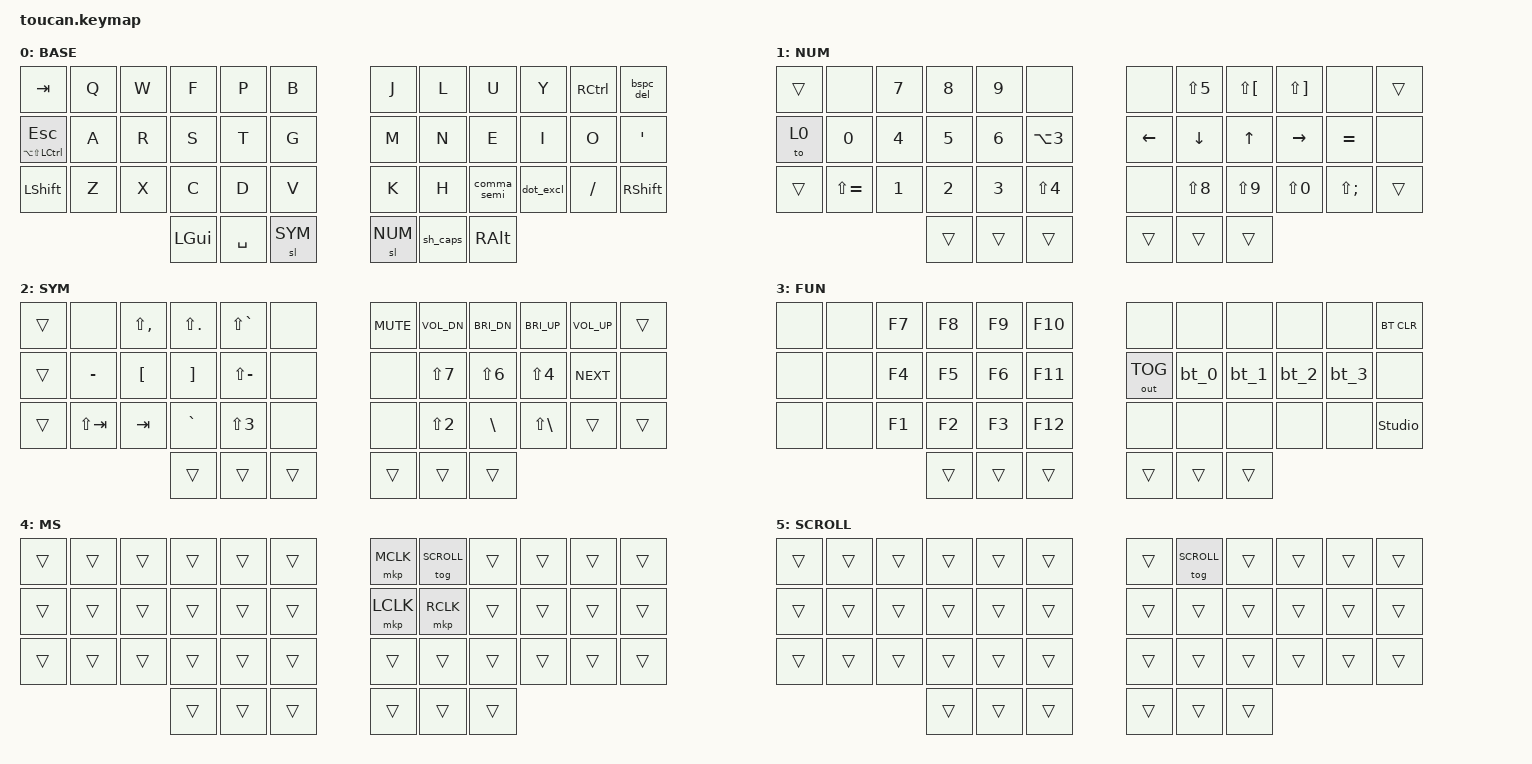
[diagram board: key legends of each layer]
#include <behaviors.dtsi>
#include <dt-bindings/zmk/keys.h>
#include <dt-bindings/zmk/bt.h>
#include <dt-bindings/zmk/outputs.h>
#include <dt-bindings/zmk/pointing.h>
#include <input/processors.dtsi>

#define BASE  0
#define NUM   1
#define SYM   2
#define FUN   3
#define MOUSE  4
#define SCROLL 5

#define HYPER LA(LS(LCTRL))

/* Macros */
/ {
    macros {
        bt_0: bt_0 {
            label = "BT_0";
            compatible = "zmk,behavior-macro";
            #binding-cells = <0>;
            bindings = <&out OUT_BLE>, <&bt BT_SEL 0>;
        };

        bt_1: bt_1 {
            label = "BT_1";
            compatible = "zmk,behavior-macro";
            #binding-cells = <0>;
            bindings = <&out OUT_BLE>, <&bt BT_SEL 1>;
        };

        bt_2: bt_2 {
            label = "BT_2";
            compatible = "zmk,behavior-macro";
            #binding-cells = <0>;
            bindings = <&out OUT_BLE>, <&bt BT_SEL 2>;
        };

        bt_3: bt_3 {
            label = "BT_3";
            compatible = "zmk,behavior-macro";
            #binding-cells = <0>;
            bindings = <&out OUT_BLE>, <&bt BT_SEL 3>;
        };
    };
};

/* Behaviors */
/ {
    behaviors {
        comma_semi: comma_semi {
            compatible = "zmk,behavior-mod-morph";
            label = "SEMI_COMMA";
            #binding-cells = <0>;
            bindings = <&kp COMMA>, <&kp SEMI>;
            mods = <(MOD_LSFT|MOD_RSFT)>;
        };

        dot_excl: dot_excl {
            compatible = "zmk,behavior-mod-morph";
            label = "EXCL_DOT";
            #binding-cells = <0>;
            bindings = <&kp DOT>, <&kp EXCL>;
            mods = <(MOD_LSFT|MOD_RSFT)>;
        };

        bspc_del: bspc_del {
            compatible = "zmk,behavior-mod-morph";
            label = "BSPC_DEL";
            #binding-cells = <0>;
            bindings = <&kp BSPC>, <&kp DEL>;
            mods = <(MOD_LSFT|MOD_RSFT)>;
        };

        sh_caps: sh_caps {
            compatible = "zmk,behavior-tap-dance";
            #binding-cells = <0>;
            tapping-term-ms = <200>;
            bindings = <&sk LSHIFT>, <&caps_word>;
        };
    };
};

/* Conditional layer: both layer keys held = FUN */
/ {
    conditional_layers {
        compatible = "zmk,conditional-layers";
        tri_layer {
            if-layers = <NUM SYM>;
            then-layer = <FUN>;
        };
    };
};

/* Auto mouse layer: trackpad touch activates MOUSE layer.
 * excluded-positions: click keys (6=MCLK, 18=LCLK, 19=RCLK) won't dismiss the layer.
 * require-prior-idle-ms: don't activate if typing within last 1s. */
&zip_temp_layer {
    require-prior-idle-ms = <1000>;
    excluded-positions = <6 7 18 19>;
};

&glidepoint_listener {
    input-processors = <&zip_xy_scaler 400 100>, <&zip_temp_layer MOUSE 500>;
    scroller {
        layers = <NUM SYM SCROLL>;
        input-processors = <
            &zip_xy_to_scroll_mapper
            &zip_scroll_scaler 1 5
            &zip_scroll_transform (INPUT_TRANSFORM_X_INVERT | INPUT_TRANSFORM_Y_INVERT)
        >;
    };
};

/*
 * Combos - positions remapped from Go60 to Toucan 42-key layout
 *
 *  0  1  2  3  4  5  |  6  7  8  9 10 11
 * 12 13 14 15 16 17  | 18 19 20 21 22 23
 * 24 25 26 27 28 29  | 30 31 32 33 34 35
 *          36 37 38  | 39 40 41
 *
 * TAB  Q  W  F  P  B  |  J  L  U  Y CTL BS
 * ESC  A  R  S  T  G  |  M  N  E  I  O  '
 * SHF  Z  X  C  D  V  |  K  H  ,  .  /  SHF
 *        GUI SPC SYM  | NUM SHF ALT
 */
/ {
    combos {
        compatible = "zmk,combos";

        combo_CD_V {
            key-positions = <27 28>;
            bindings = <&kp V>;
            layers = <BASE NUM SYM>;
        };

        combo_CommaDot_return {
            key-positions = <32 33>;
            bindings = <&kp RET>;
            layers = <BASE NUM SYM>;
        };

        combo_DotSlash_HYPER_R {
            key-positions = <33 34>;
            bindings = <&kp LS(LA(LC(LG(RBKT))))>;
            layers = <BASE NUM SYM>;
        };

        combo_FP_B {
            key-positions = <3 4>;
            bindings = <&kp B>;
            layers = <BASE NUM SYM>;
        };

        combo_SX_delete {
            key-positions = <15 26>;
            bindings = <&kp BSPC>;
            layers = <BASE NUM SYM>;
        };

        combo_UY_J {
            key-positions = <8 9>;
            bindings = <&kp J>;
            layers = <BASE NUM SYM>;
        };

        combo_WF_Q {
            key-positions = <3 2>;
            bindings = <&kp Q>;
            layers = <BASE NUM SYM>;
        };

        combo_XD_K {
            key-positions = <26 28>;
            bindings = <&kp K>;
            layers = <BASE NUM SYM>;
        };

        combo_ZC_TAB {
            key-positions = <27 25>;
            bindings = <&kp TAB>;
            layers = <BASE NUM SYM>;
        };

        combo_ZX_HYPER_L {
            key-positions = <25 26>;
            bindings = <&kp LC(LS(LA(LG(LBKT))))>;
            layers = <BASE NUM SYM>;
        };
    };
};

/* Keymap */
/ {
    keymap {
        compatible = "zmk,keymap";

        layer_Base {
            display-name = "BASE";
            bindings = <
     &kp TAB        &kp Q  &kp W  &kp F  &kp P  &kp B      &kp J  &kp L  &kp U  &kp Y  &kp RCTRL  &bspc_del
     &mt HYPER ESC  &kp A  &kp R  &kp S  &kp T  &kp G      &kp M  &kp N  &kp E  &kp I  &kp O     &kp SQT
     &kp LSHFT      &kp Z  &kp X  &kp C  &kp D  &kp V      &kp K  &kp H  &comma_semi    &dot_excl    &kp FSLH  &kp RSHFT
                              &kp LGUI  &kp SPACE  &sl SYM      &sl NUM  &sh_caps  &kp RALT
            >;
        };

        layer_NUM {
            display-name = "NUM";
            bindings = <
     &trans  &none         &kp N7  &kp N8  &kp N9  &none       &none     &kp LS(N5)  &kp LS(LBKT)  &kp LS(RBKT)  &none        &trans
     &to 0  &kp N0        &kp N4  &kp N5  &kp N6  &kp LA(N3)  &kp LEFT  &kp DOWN    &kp UP        &kp RIGHT     &kp EQUAL    &none
     &trans &kp LS(EQUAL)  &kp N1  &kp N2  &kp N3  &kp LS(N4)  &none     &kp LS(N8)  &kp LS(N9)    &kp LS(N0)    &kp LS(SEMI) &trans
                                    &trans  &trans   &trans      &trans    &trans      &trans
            >;
        };

        layer_SYM {
            display-name = "SYM";
            bindings = <
     &trans  &none       &kp LS(COMMA)  &kp LS(DOT)  &kp LS(GRAVE)  &none   &kp C_MUTE   &kp C_VOL_DN  &kp C_BRI_DN  &kp C_BRI_UP  &kp C_VOL_UP  &trans
     &trans  &kp MINUS   &kp LBKT       &kp RBKT     &kp LS(MINUS)  &none   &none         &kp LS(N7)    &kp LS(N6)    &kp LS(N4)    &kp C_NEXT    &none
     &trans  &kp LS(TAB) &kp TAB        &kp GRAVE    &kp LS(N3)     &none   &none         &kp LS(N2)    &kp BSLH      &kp LS(BSLH)  &trans        &trans
                                          &trans  &trans  &trans     &trans  &trans        &trans
            >;
        };

        layer_FUN {
            display-name = "FUN";
            bindings = <
     &none  &none  &kp F7  &kp F8  &kp F9  &kp F10   &none          &none  &none  &none  &none  &bt BT_CLR
     &none  &none  &kp F4  &kp F5  &kp F6  &kp F11   &out OUT_TOG   &bt_0  &bt_1  &bt_2  &bt_3  &none
     &none  &none  &kp F1  &kp F2  &kp F3  &kp F12   &none          &none  &none  &none  &none  &studio_unlock
                                 &trans  &trans  &trans   &trans  &trans  &trans
            >;
        };

        layer_MOUSE {
            display-name = "MS";
            bindings = <
     &trans  &trans  &trans  &trans  &trans  &trans      &mkp MCLK  &tog SCROLL  &trans  &trans  &trans  &trans
     &trans  &trans  &trans  &trans  &trans  &trans      &mkp LCLK  &mkp RCLK   &trans  &trans  &trans  &trans
     &trans  &trans  &trans  &trans  &trans  &trans      &trans     &trans      &trans  &trans  &trans  &trans
                                 &trans  &trans  &trans      &trans  &trans  &trans
            >;
        };

        layer_SCROLL {
            display-name = "SCROLL";
            bindings = <
     &trans  &trans  &trans  &trans  &trans  &trans      &trans  &tog SCROLL  &trans  &trans  &trans  &trans
     &trans  &trans  &trans  &trans  &trans  &trans      &trans  &trans       &trans  &trans  &trans  &trans
     &trans  &trans  &trans  &trans  &trans  &trans      &trans  &trans       &trans  &trans  &trans  &trans
                                 &trans  &trans  &trans      &trans  &trans  &trans
            >;
        };
    };
};
